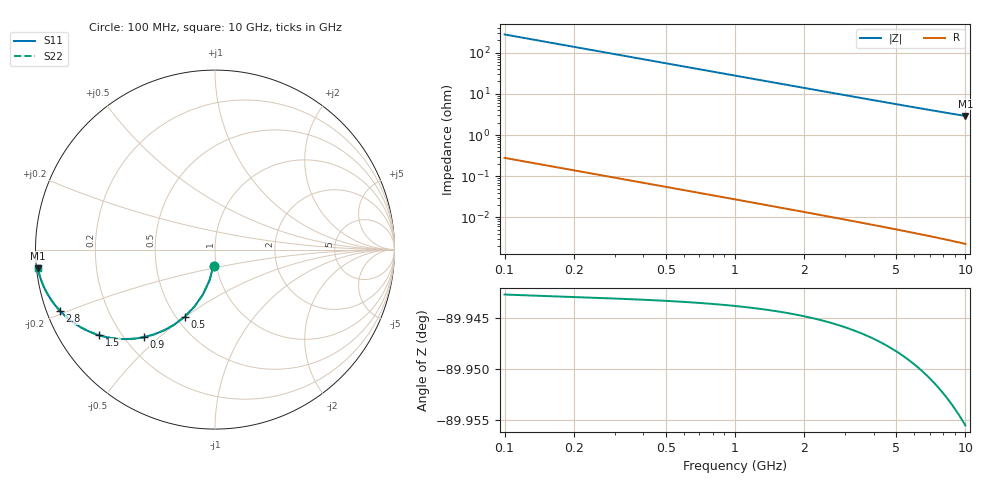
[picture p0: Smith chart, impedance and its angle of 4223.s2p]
# Hz S RI R 50.00
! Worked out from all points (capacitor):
!   100 points, 100 MHz to 10 GHz, reference 50 ohm
!   read as one part in shunt: C = 5.73 pF near 100 MHz
!   lowest |Z| = 2.9 ohm at 10 GHz (marker M1)
!   S11 on the Smith chart (normalised r, x): 100 MHz: 0.97, -0.17; 500 MHz: 0.55, -0.50; 900 MHz: 0.28, -0.45; 1.5 GHz: 0.12, -0.33; 2.8 GHz: 0.04, -0.19; 10 GHz: 0.00, -0.05
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1e8  -0.00809 -0.0892  0.9919 -0.0893  0.9919 -0.0893  -0.00809 -0.0892
2e8  -0.0315 -0.1741  0.9684 -0.1744  0.9684 -0.1744  -0.0315 -0.1741
3e8  -0.0681 -0.2513  0.9318 -0.2516  0.9318 -0.2516  -0.0681 -0.2513
4e8  -0.1149 -0.3182  0.8851 -0.3186  0.8851 -0.3186  -0.1149 -0.3182
5e8  -0.1685 -0.3736  0.8314 -0.3741  0.8314 -0.3741  -0.1685 -0.3736
6e8  -0.2258 -0.4173  0.7741 -0.418  0.7741 -0.418  -0.2258 -0.4173
7e8  -0.2841 -0.4501  0.7158 -0.4509  0.7158 -0.4509  -0.2841 -0.4501
8e8  -0.3413 -0.4732  0.6586 -0.4741  0.6586 -0.4741  -0.3413 -0.4732
9e8  -0.396 -0.4881  0.6039 -0.4891  0.6039 -0.4891  -0.396 -0.4881
1e9  -0.4473 -0.4961  0.5527 -0.4973  0.5527 -0.4973  -0.4473 -0.4961
1.2e9  -0.538 -0.4974  0.4619 -0.4987  0.4619 -0.4987  -0.538 -0.4974
1.5e9  -0.6452 -0.4771  0.3548 -0.4788  0.3548 -0.4788  -0.6452 -0.4771
1.8e9  -0.7235 -0.4457  0.2764 -0.4478  0.2764 -0.4478  -0.7235 -0.4457
2e9  -0.7636 -0.4232  0.2364 -0.4255  0.2364 -0.4255  -0.7636 -0.4232
2.3e9  -0.8102 -0.3903  0.1898 -0.3929  0.1898 -0.3929  -0.8102 -0.3903
2.8e9  -0.8634 -0.3413  0.1365 -0.3445  0.1365 -0.3445  -0.8634 -0.3413
3.4e9  -0.903 -0.2934  0.0969 -0.2973  0.0969 -0.2973  -0.903 -0.2934
4.2e9  -0.9342 -0.245  0.0657 -0.2498  0.0657 -0.2498  -0.9342 -0.245
5.1e9  -0.9544 -0.2051  0.0455 -0.211  0.0455 -0.211  -0.9544 -0.2051
6.7e9  -0.9731 -0.1574  0.0268 -0.1651  0.0268 -0.1651  -0.9731 -0.1574
8.4e9  -0.9827 -0.1247  0.0172 -0.1344  0.0172 -0.1344  -0.9827 -0.1247
1e10  -0.9878 -0.1031  0.0121 -0.1148  0.0121 -0.1148  -0.9878 -0.1031
